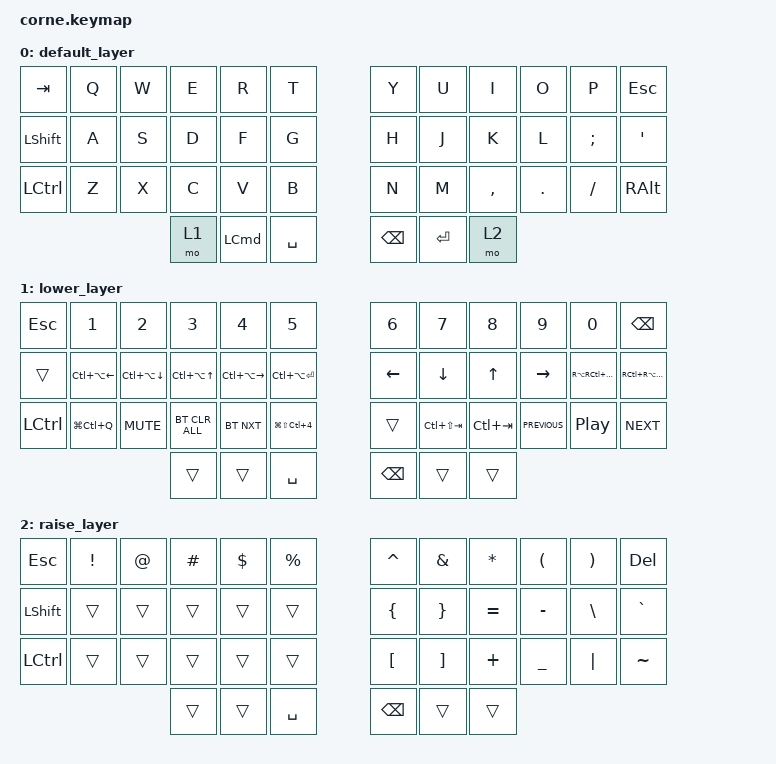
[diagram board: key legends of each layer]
/*
 * Copyright (c) 2020 The ZMK Contributors
 *
 * SPDX-License-Identifier: MIT
 */

#include <behaviors.dtsi>
#include <dt-bindings/zmk/bt.h>
#include <dt-bindings/zmk/keys.h>

/ {
    combos {
        compatible = "zmk,combos";

        tildaswitch {
            bindings = <&kp TILDE>;
            key-positions = <0 1>;
            layers = <0>;
        };
    };

    keymap {
        compatible = "zmk,keymap";

        default_layer {
            // -----------------------------------------------------------------------------------------
            // |  TAB |  Q  |  W  |  E  |  R  |  T  |   |  Y  |  U   |  I  |  O  |  P  | BSPC |
            // | CTRL |  A  |  S  |  D  |  F  |  G  |   |  H  |  J   |  K  |  L  |  ;  |  '   |
            // | SHFT |  Z  |  X  |  C  |  V  |  B  |   |  N  |  M   |  ,  |  .  |  /  | ESC  |
            //                    | GUI | LWR | SPC |   | ENT | RSE  | ALT |

            bindings = <
&kp TAB           &kp Q  &kp W  &kp E  &kp R             &kp T        &kp Y          &kp U       &kp I      &kp O    &kp P     &kp ESCAPE
&kp LEFT_SHIFT    &kp A  &kp S  &kp D  &kp F             &kp G        &kp H          &kp J       &kp K      &kp L    &kp SEMI  &kp SQT
&kp LEFT_CONTROL  &kp Z  &kp X  &kp C  &kp V             &kp B        &kp N          &kp M       &kp COMMA  &kp DOT  &kp FSLH  &kp RIGHT_ALT
                                &mo 1  &kp LEFT_COMMAND  &kp SPACE    &kp BACKSPACE  &kp RETURN  &mo 2
            >;
        };

        lower_layer {
            // -----------------------------------------------------------------------------------------
            // |  TAB |  1  |  2  |  3  |  4  |  5  |   |  6  |  7  |  8  |  9  |  0  | BSPC |
            // | BTCLR| BT1 | BT2 | BT3 | BT4 | BT5 |   | LFT | DWN |  UP | RGT |     |      |
            // | SHFT |     |     |     |     |     |   |     |     |     |     |     |      |
            //                    | GUI |     | SPC |   | ENT |     | ALT |

            bindings = <
&kp ESCAPE        &kp N1            &kp N2                  &kp N3                &kp N4             &kp N5                      &kp N6         &kp N7           &kp N8       &kp N9          &kp N0                &kp BSPC
&trans            &kp LC(LA(LEFT))  &kp LC(LA(DOWN_ARROW))  &kp LC(LA(UP_ARROW))  &kp LC(LA(RIGHT))  &kp LC(LA(ENTER))           &kp LEFT       &kp DOWN         &kp UP       &kp RIGHT       &kp RA(RC(RG(LEFT)))  &kp RC(RA(RG(RIGHT)))
&kp LEFT_CONTROL  &kp LG(LC(Q))     &kp C_MUTE              &bt BT_CLR_ALL        &bt BT_NXT         &kp LG(LS(LC(NUMBER_4)))    &trans         &kp LC(LS(TAB))  &kp LC(TAB)  &kp C_PREVIOUS  &kp C_PLAY_PAUSE      &kp C_NEXT
                                                            &trans                &trans             &kp SPACE                   &kp BACKSPACE  &trans           &trans
            >;
        };

        raise_layer {
            // -----------------------------------------------------------------------------------------
            // |  TAB |  !  |  @  |  #  |  $  |  %  |   |  ^  |  &  |  *  |  (  |  )  | BSPC |
            // | CTRL |     |     |     |     |     |   |  -  |  =  |  [  |  ]  |  \  |  `   |
            // | SHFT |     |     |     |     |     |   |  _  |  +  |  {  |  }  | "|" |  ~   |
            //                    | GUI |     | SPC |   | ENT |     | ALT |

            bindings = <
&kp ESCAPE        &kp EXCL  &kp AT  &kp HASH  &kp DLLR  &kp PRCNT    &kp CARET         &kp AMPS           &kp ASTRK  &kp LPAR        &kp RPAR  &kp DELETE
&kp LEFT_SHIFT    &trans    &trans  &trans    &trans    &trans       &kp LEFT_BRACE    &kp RIGHT_BRACE    &kp EQUAL  &kp MINUS       &kp BSLH  &kp GRAVE
&kp LEFT_CONTROL  &trans    &trans  &trans    &trans    &trans       &kp LEFT_BRACKET  &kp RIGHT_BRACKET  &kp PLUS   &kp UNDERSCORE  &kp PIPE  &kp TILDE
                                    &trans    &trans    &kp SPACE    &kp BACKSPACE     &trans             &trans
            >;
        };
    };
};
